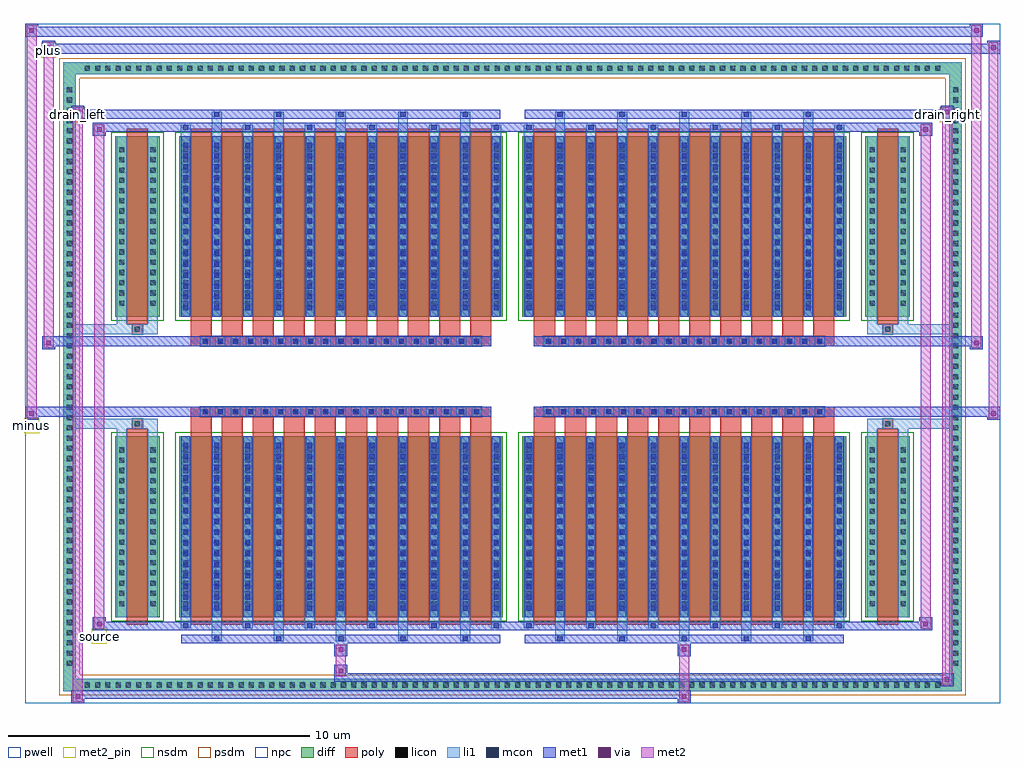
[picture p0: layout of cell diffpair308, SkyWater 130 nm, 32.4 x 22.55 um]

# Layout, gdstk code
import gdstk
lib = gdstk.Library(unit=1e-6, precision=5e-09)
def R(c, l, rs):  # rectangles x0, y0, x1, y1
    for r in rs: c.add(gdstk.rectangle(r[:2], r[2:], *l))
def A(c, l, x, y, w, h, nx, ny, dx, dy):  # array of equal rectangles
    R(c, l, [(x+i*dx, y+j*dy, x+i*dx+w, y+j*dy+h) for i in range(nx) for j in range(ny)])
def P(c, l, *ps):  # polygons
    for p in ps: c.add(gdstk.Polygon(p, *l))
pwell = (64, 44)
diff = (65, 20)
poly = (66, 20)
licon = (66, 44)
li1 = (67, 20)
mcon = (67, 44)
met1 = (68, 20)
via = (68, 44)
met2_pin = (69, 16)
met2 = (69, 20)
nsdm = (93, 44)
psdm = (94, 20)
npc = (95, 20)

diffpair308 = lib.new_cell('diffpair308')
R(diffpair308, pwell, [(-16.18,-10.84,16.18,11.71), (-13.5,-9.03,-0.01,-0.805), (0.01,-9.03,13.5,-0.805), (-13.5,0.805,-0.01,9.03), (0.01,0.805,13.5,9.03)])
A(diffpair308, diff, -14.315, -10.44, 0.41, 0.41, 84, 2, 0.34, 20.47)
A(diffpair308, diff, -14.91, -9.725, 0.41, 0.41, 1, 57, 0, 0.34)
A(diffpair308, diff, 14.5, -9.725, 0.41, 0.41, 1, 57, 0, 0.34)
R(diffpair308, diff, [(-14.315,-10.44,14.315,-10.03), (-14.91,-9.725,-14.5,9.725), (14.5,-9.725,14.91,9.725), (-13.19,-7.985,-11.71,-1.985), (-11.07,-7.985,-0.32,-1.985), (0.32,-7.985,11.07,-1.985), (11.71,-7.985,13.19,-1.985), (-13.19,1.985,-11.71,7.985), (-11.07,1.985,-0.32,7.985), (0.32,1.985,11.07,7.985), (11.71,1.985,13.19,7.985), (-14.315,10.03,14.315,10.44)])
P(diffpair308, diff, [(14.91,10.44),(-14.91,10.44),(-14.91,-10.03),(-14.5,-10.03),(-14.5,10.03),(14.5,10.03),(14.5,-10.03),(-14.5,-10.03),(-14.91,-10.03),(-14.91,-10.44),(14.91,-10.44)])
A(diffpair308, poly, -10.68, -8.235, 0.7, 6.5, 10, 2, 1.03, 9.97)
A(diffpair308, poly, 0.71, -8.235, 0.7, 6.5, 10, 2, 1.03, 9.97)
A(diffpair308, poly, -10.68, -1.735, 0.7, 0.4, 10, 2, 1.03, 3.07)
A(diffpair308, poly, 0.71, -1.735, 0.7, 0.4, 10, 2, 1.03, 3.07)
A(diffpair308, poly, -10.36, -1.335, 0.33, 0.33, 19, 2, 0.5, 2.34)
A(diffpair308, poly, 1.03, -1.335, 0.33, 0.33, 19, 2, 0.5, 2.34)
R(diffpair308, poly, [(-12.8,-8.235,-12.1,-1.735), (12.1,-8.235,12.8,-1.735), (-12.615,-1.735,-12.285,-1.405), (-12.615,-1.735,-12.285,-1.405), (12.285,-1.735,12.615,-1.405), (12.285,-1.735,12.615,-1.405), (-10.68,-1.335,-0.71,-1.005), (0.71,-1.335,10.68,-1.005), (-10.68,1.005,-0.71,1.335), (0.71,1.005,10.68,1.335), (-12.615,1.405,-12.285,1.735), (-12.615,1.405,-12.285,1.735), (12.285,1.405,12.615,1.735), (12.285,1.405,12.615,1.735), (-12.8,1.735,-12.1,8.235), (12.1,1.735,12.8,8.235)])
A(diffpair308, licon, -14.195, -10.32, 0.17, 0.17, 84, 2, 0.34, 20.47)
A(diffpair308, licon, -14.79, -9.605, 0.17, 0.17, 1, 57, 0, 0.34)
A(diffpair308, licon, 14.62, -9.605, 0.17, 0.17, 1, 57, 0, 0.34)
A(diffpair308, licon, -13.05, -7.62, 0.17, 0.17, 1, 16, 0, 0.34)
A(diffpair308, licon, -12.02, -7.62, 0.17, 0.17, 1, 16, 0, 0.34)
A(diffpair308, licon, -10.93, -7.62, 0.17, 0.17, 11, 16, 1.03, 0.34)
A(diffpair308, licon, 0.46, -7.62, 0.17, 0.17, 11, 16, 1.03, 0.34)
A(diffpair308, licon, 11.85, -7.62, 0.17, 0.17, 1, 16, 0, 0.34)
A(diffpair308, licon, 12.88, -7.62, 0.17, 0.17, 1, 16, 0, 0.34)
A(diffpair308, licon, -10.28, -1.255, 0.17, 0.17, 19, 2, 0.5, 2.34)
A(diffpair308, licon, 1.11, -1.255, 0.17, 0.17, 19, 2, 0.5, 2.34)
A(diffpair308, licon, -13.05, 2.35, 0.17, 0.17, 1, 16, 0, 0.34)
A(diffpair308, licon, -12.02, 2.35, 0.17, 0.17, 1, 16, 0, 0.34)
A(diffpair308, licon, -10.93, 2.35, 0.17, 0.17, 11, 16, 1.03, 0.34)
A(diffpair308, licon, 0.46, 2.35, 0.17, 0.17, 11, 16, 1.03, 0.34)
A(diffpair308, licon, 11.85, 2.35, 0.17, 0.17, 1, 16, 0, 0.34)
A(diffpair308, licon, 12.88, 2.35, 0.17, 0.17, 1, 16, 0, 0.34)
R(diffpair308, licon, [(-12.535,-1.655,-12.365,-1.485), (12.365,-1.655,12.535,-1.485), (-12.535,1.485,-12.365,1.655), (12.365,1.485,12.535,1.655)])
A(diffpair308, li1, -14.275, -10.4, 0.33, 0.33, 84, 2, 0.34, 20.47)
A(diffpair308, li1, -14.87, -9.685, 0.33, 0.33, 1, 57, 0, 0.34)
A(diffpair308, li1, 14.54, -9.685, 0.33, 0.33, 1, 57, 0, 0.34)
A(diffpair308, li1, -9.98, -8.79, 0.33, 0.805, 5, 2, 2.06, 16.775)
A(diffpair308, li1, -9.9, -8.79, 0.17, 0.17, 5, 2, 2.06, 17.41)
A(diffpair308, li1, 1.41, -8.79, 0.33, 0.805, 5, 2, 2.06, 16.775)
A(diffpair308, li1, 1.49, -8.79, 0.17, 0.17, 5, 2, 2.06, 17.41)
A(diffpair308, li1, -11.01, -8.36, 0.33, 0.375, 6, 2, 2.06, 16.345)
A(diffpair308, li1, -10.93, -8.36, 0.17, 0.17, 6, 2, 2.06, 16.55)
A(diffpair308, li1, 0.38, -8.36, 0.33, 0.375, 6, 2, 2.06, 16.345)
A(diffpair308, li1, 0.46, -8.36, 0.17, 0.17, 6, 2, 2.06, 16.55)
A(diffpair308, li1, -11.01, -7.985, 0.33, 6, 11, 2, 1.03, 9.97)
A(diffpair308, li1, 0.38, -7.985, 0.33, 6, 11, 2, 1.03, 9.97)
A(diffpair308, li1, -10.93, -7.77, 0.17, 0.17, 11, 16, 1.03, 0.36)
A(diffpair308, li1, -10.93, -7.77, 0.17, 5.57, 11, 2, 1.03, 9.97)
A(diffpair308, li1, 0.46, -7.77, 0.17, 0.17, 11, 16, 1.03, 0.36)
A(diffpair308, li1, 0.46, -7.77, 0.17, 5.57, 11, 2, 1.03, 9.97)
A(diffpair308, li1, -13.13, -7.7, 0.33, 0.33, 1, 16, 0, 0.34)
A(diffpair308, li1, -12.1, -7.7, 0.33, 0.33, 1, 16, 0, 0.34)
A(diffpair308, li1, -11.01, -7.7, 0.33, 0.33, 11, 16, 1.03, 0.34)
A(diffpair308, li1, 0.38, -7.7, 0.33, 0.33, 11, 16, 1.03, 0.34)
A(diffpair308, li1, 11.77, -7.7, 0.33, 0.33, 1, 16, 0, 0.34)
A(diffpair308, li1, 12.8, -7.7, 0.33, 0.33, 1, 16, 0, 0.34)
A(diffpair308, li1, -10.36, -1.335, 0.33, 0.33, 19, 2, 0.5, 2.34)
A(diffpair308, li1, 1.03, -1.335, 0.33, 0.33, 19, 2, 0.5, 2.34)
A(diffpair308, li1, -10.93, 2.2, 0.17, 0.17, 11, 16, 1.03, 0.36)
A(diffpair308, li1, 0.46, 2.2, 0.17, 0.17, 11, 16, 1.03, 0.36)
A(diffpair308, li1, -13.13, 2.27, 0.33, 0.33, 1, 16, 0, 0.34)
A(diffpair308, li1, -12.1, 2.27, 0.33, 0.33, 1, 16, 0, 0.34)
A(diffpair308, li1, -11.01, 2.27, 0.33, 0.33, 11, 16, 1.03, 0.34)
A(diffpair308, li1, 0.38, 2.27, 0.33, 0.33, 11, 16, 1.03, 0.34)
A(diffpair308, li1, 11.77, 2.27, 0.33, 0.33, 1, 16, 0, 0.34)
A(diffpair308, li1, 12.8, 2.27, 0.33, 0.33, 1, 16, 0, 0.34)
R(diffpair308, li1, [(-14.91,-10.44,-14.5,-10.03), (-14.91,-10.44,-14.5,-10.03), (-14.5,-10.44,14.5,-10.03), (14.5,-10.44,14.91,-10.03), (14.5,-10.44,14.91,-10.03), (-14.91,-10.03,-14.5,10.03), (14.5,-10.03,14.91,10.03), (-13.13,-7.985,-12.8,-1.985), (-12.1,-7.985,-11.77,-1.985), (11.77,-7.985,12.1,-1.985), (12.8,-7.985,13.13,-1.985), (-13.13,-1.985,-12.8,-1.405), (-12.1,-1.985,-11.77,-1.405), (11.77,-1.985,12.1,-1.405), (12.8,-1.985,13.13,-1.405), (-14.91,-1.735,-12.615,-1.405), (-13.13,-1.735,-12.615,-1.405), (-12.615,-1.735,-12.285,-1.405), (-12.285,-1.735,-11.77,-1.405), (11.77,-1.735,12.285,-1.405), (12.285,-1.735,12.615,-1.405), (12.285,-1.735,14.91,-1.405), (12.615,-1.735,13.13,-1.405), (-14.91,1.405,-12.615,1.735), (-13.13,1.405,-12.615,1.735), (-13.13,1.405,-12.8,1.985), (-12.615,1.405,-12.285,1.735), (-12.285,1.405,-11.77,1.735), (-12.1,1.405,-11.77,1.985), (11.77,1.405,12.285,1.735), (11.77,1.405,12.1,1.985), (12.285,1.405,12.615,1.735), (12.285,1.405,14.91,1.735), (12.615,1.405,13.13,1.735), (12.8,1.405,13.13,1.985), (-13.13,1.985,-12.8,7.985), (-12.1,1.985,-11.77,7.985), (11.77,1.985,12.1,7.985), (12.8,1.985,13.13,7.985), (-14.91,10.03,-14.5,10.44), (-14.91,10.03,-14.5,10.44), (-14.5,10.03,14.5,10.44), (14.5,10.03,14.91,10.44), (14.5,10.03,14.91,10.44)])
A(diffpair308, mcon, -9.9, -8.79, 0.17, 0.17, 5, 2, 2.06, 17.41)
A(diffpair308, mcon, 1.49, -8.79, 0.17, 0.17, 5, 2, 2.06, 17.41)
A(diffpair308, mcon, -10.93, -8.36, 0.17, 0.17, 6, 2, 2.06, 16.55)
A(diffpair308, mcon, 0.46, -8.36, 0.17, 0.17, 6, 2, 2.06, 16.55)
A(diffpair308, mcon, -10.93, -7.77, 0.17, 0.17, 11, 16, 1.03, 0.36)
A(diffpair308, mcon, 0.46, -7.77, 0.17, 0.17, 11, 16, 1.03, 0.36)
A(diffpair308, mcon, -10.28, -1.255, 0.17, 0.17, 19, 2, 0.5, 2.34)
A(diffpair308, mcon, 1.11, -1.255, 0.17, 0.17, 19, 2, 0.5, 2.34)
A(diffpair308, mcon, -10.93, 2.2, 0.17, 0.17, 11, 16, 1.03, 0.36)
A(diffpair308, mcon, 0.46, 2.2, 0.17, 0.17, 11, 16, 1.03, 0.36)
A(diffpair308, met1, -9.96, -8.85, 0.29, 0.29, 5, 2, 2.06, 17.41)
A(diffpair308, met1, 1.43, -8.85, 0.29, 0.29, 5, 2, 2.06, 17.41)
A(diffpair308, met1, -10.99, -8.42, 0.29, 0.29, 6, 2, 2.06, 16.55)
A(diffpair308, met1, 0.4, -8.42, 0.29, 0.29, 6, 2, 2.06, 16.55)
A(diffpair308, met1, -10.99, -7.985, 0.29, 6, 11, 2, 1.03, 9.97)
A(diffpair308, met1, 0.4, -7.985, 0.29, 6, 11, 2, 1.03, 9.97)
A(diffpair308, met1, -10.99, -7.83, 0.29, 0.29, 11, 16, 1.03, 0.36)
A(diffpair308, met1, 0.4, -7.83, 0.29, 0.29, 11, 16, 1.03, 0.36)
A(diffpair308, met1, -10.34, -1.315, 0.29, 0.29, 19, 2, 0.5, 2.34)
A(diffpair308, met1, 1.05, -1.315, 0.29, 0.29, 19, 2, 0.5, 2.34)
A(diffpair308, met1, -10.99, 2.14, 0.29, 0.29, 11, 16, 1.03, 0.36)
A(diffpair308, met1, 0.4, 2.14, 0.29, 0.29, 11, 16, 1.03, 0.36)
R(diffpair308, met1, [(-14.64,-10.84,-14.21,-10.41), (5.48,-10.84,5.91,-10.41), (-14.64,-10.7,5.91,-10.41), (14.21,-10.27,14.64,-9.84), (-5.91,-10.13,14.64,-9.84), (-5.91,-9.99,-5.48,-9.56), (-5.91,-9.28,-5.48,-8.85), (5.48,-9.28,5.91,-8.85), (-10.99,-8.85,-0.4,-8.56), (0.4,-8.85,10.99,-8.56), (-13.93,-8.42,-13.5,-7.99), (-13.93,-8.42,-10.99,-8.13), (-10.99,-8.42,-0.4,-8.13), (-0.4,-8.42,0.4,-8.13), (0.4,-8.42,10.99,-8.13), (10.99,-8.42,13.93,-8.13), (13.5,-8.42,13.93,-7.99), (-16.18,-1.435,-15.75,-1.005), (15.75,-1.435,16.18,-1.005), (-16.18,-1.335,-0.71,-1.005), (-10.68,-1.335,-0.71,-1.005), (0.71,-1.335,10.68,-1.005), (0.71,-1.335,16.18,-1.005), (-15.61,0.905,-15.18,1.335), (15.18,0.905,15.61,1.335), (-15.61,1.005,-10.68,1.335), (-10.68,1.005,-0.71,1.335), (0.71,1.005,10.68,1.335), (10.68,1.005,15.61,1.335), (-13.93,7.99,-13.5,8.42), (13.5,7.99,13.93,8.42), (-13.93,8.13,-10.99,8.42), (-10.99,8.13,-0.4,8.42), (-0.4,8.13,0.4,8.42), (0.4,8.13,10.99,8.42), (10.99,8.13,13.93,8.42), (-14.64,8.56,-14.21,8.99), (-14.64,8.56,-10.99,8.85), (-10.99,8.56,-0.4,8.85), (0.4,8.56,10.99,8.85), (10.99,8.56,14.64,8.85), (14.21,8.56,14.64,8.99), (-15.61,10.71,-15.18,11.14), (-15.61,10.71,-13.5,11.04), (-13.5,10.71,13.5,11.04), (13.5,10.71,16.18,11.04), (15.75,10.71,16.18,11.14), (-16.18,11.28,-15.75,11.71), (-16.18,11.28,-13.5,11.61), (-13.5,11.28,13.5,11.61), (13.5,11.28,15.61,11.61), (15.18,11.28,15.61,11.71)])
R(diffpair308, via, [(-14.5,-10.7,-14.35,-10.55), (5.62,-10.7,5.77,-10.55), (14.35,-10.13,14.5,-9.98), (-5.77,-9.85,-5.62,-9.7), (-5.77,-9.14,-5.62,-8.99), (5.62,-9.14,5.77,-8.99), (-13.79,-8.28,-13.64,-8.13), (13.64,-8.28,13.79,-8.13), (-16.04,-1.295,-15.89,-1.145), (15.89,-1.295,16.04,-1.145), (-15.47,1.045,-15.32,1.195), (15.32,1.045,15.47,1.195), (-13.79,8.13,-13.64,8.28), (13.64,8.13,13.79,8.28), (-14.5,8.7,-14.35,8.85), (14.35,8.7,14.5,8.85), (-15.47,10.85,-15.32,11), (15.89,10.85,16.04,11), (-16.04,11.42,-15.89,11.57), (15.32,11.42,15.47,11.57)])
R(diffpair308, met2_pin, [(-13.965,-8.87,-13.465,-8.37), (-16.215,-1.885,-15.715,-1.385), (-14.675,8.44,-14.175,8.94), (14.175,8.44,14.675,8.94), (-15.645,10.59,-15.145,11.09)])
R(diffpair308, met2, [(-14.59,-10.79,-14.26,-10.46), (-14.59,-10.79,-14.26,8.94), (5.53,-10.79,5.86,-10.46), (5.53,-10.46,5.86,-9.23), (14.26,-10.22,14.59,-9.89), (14.26,-10.22,14.59,8.94), (-5.86,-9.94,-5.53,-9.61), (-5.86,-9.61,-5.53,-9.23), (-5.86,-9.23,-5.53,-8.9), (5.53,-9.23,5.86,-8.9), (-13.88,-8.37,-13.55,-8.04), (-13.88,-8.37,-13.55,8.37), (13.55,-8.37,13.88,-8.04), (13.55,-8.37,13.88,8.37), (-16.13,-1.385,-15.8,-1.055), (-16.13,-1.385,-15.8,11.66), (15.8,-1.385,16.13,-1.055), (15.8,-1.385,16.13,11.09), (-15.56,0.955,-15.23,1.285), (-15.56,0.955,-15.23,11.09), (15.23,0.955,15.56,1.285), (15.23,0.955,15.56,11.66), (-13.88,8.04,-13.55,8.37), (13.55,8.04,13.88,8.37), (-14.59,8.61,-14.26,8.94), (14.26,8.61,14.59,8.94), (-15.56,10.76,-15.23,11.09), (15.8,10.76,16.13,11.09), (-16.13,11.33,-15.8,11.66), (15.23,11.33,15.56,11.66)])
P(diffpair308, met2, [(16.13,-1.385),(16.13,-1.385),(16.13,-1.055),(16.13,-1.055)],
  [(16.13,10.76),(16.13,10.76),(16.13,11.09),(16.13,11.09)],
  [(-15.8,-1.385),(-15.8,-1.385),(-15.8,-1.055),(-15.8,-1.055)],
  [(-15.8,11.33),(-15.8,11.33),(-15.8,11.66),(-15.8,11.66)],
  [(15.56,0.955),(15.56,0.955),(15.56,1.285),(15.56,1.285)],
  [(15.56,11.33),(15.56,11.33),(15.56,11.66),(15.56,11.66)],
  [(-15.23,0.955),(-15.23,0.955),(-15.23,1.285),(-15.23,1.285)],
  [(-15.23,10.76),(-15.23,10.76),(-15.23,11.09),(-15.23,11.09)],
  [(-14.26,-10.79),(-14.26,-10.79),(-14.26,-10.46),(-14.26,-10.46)],
  [(-14.26,8.61),(-14.26,8.61),(-14.26,8.94),(-14.26,8.94)],
  [(14.59,-10.22),(14.59,-10.22),(14.59,-9.89),(14.59,-9.89)],
  [(14.59,8.61),(14.59,8.61),(14.59,8.94),(14.59,8.94)],
  [(-13.55,-8.37),(-13.55,-8.37),(-13.55,-8.04),(-13.55,-8.04)],
  [(-13.55,8.04),(-13.55,8.04),(-13.55,8.37),(-13.55,8.37)],
  [(13.88,-8.37),(13.88,-8.37),(13.88,-8.04),(13.88,-8.04)],
  [(13.88,8.04),(13.88,8.04),(13.88,8.37),(13.88,8.37)])
R(diffpair308, nsdm, [(-13.32,-8.115,-11.58,-1.855), (-11.2,-8.115,-0.19,-1.855), (0.19,-8.115,11.2,-1.855), (11.58,-8.115,13.32,-1.855), (-13.32,1.855,-11.58,8.115), (-11.2,1.855,-0.19,8.115), (0.19,1.855,11.2,8.115), (11.58,1.855,13.32,8.115)])
P(diffpair308, psdm, [(15.04,10.57),(-15.04,10.57),(-15.04,-9.9),(-14.37,-9.9),(-14.37,9.9),(14.37,9.9),(14.37,-9.9),(-14.37,-9.9),(-15.04,-9.9),(-15.04,-10.57),(15.04,-10.57)])
A(diffpair308, npc, -10.38, -1.355, 0.37, 0.37, 19, 2, 0.5, 2.34)
A(diffpair308, npc, 1.01, -1.355, 0.37, 0.37, 19, 2, 0.5, 2.34)
R(diffpair308, npc, [(-12.635,-1.755,-12.265,-1.385), (12.265,-1.755,12.635,-1.385), (-10.38,-1.355,-9.51,-0.985), (-10.38,-1.355,-9.51,-0.985), (-9.88,-1.355,-9.01,-0.985), (-9.88,-1.355,-9.01,-0.985), (-9.38,-1.355,-8.51,-0.985), (-9.38,-1.355,-8.51,-0.985), (-8.88,-1.355,-8.01,-0.985), (-8.88,-1.355,-8.01,-0.985), (-8.38,-1.355,-7.51,-0.985), (-8.38,-1.355,-7.51,-0.985), (-7.88,-1.355,-7.01,-0.985), (-7.88,-1.355,-7.01,-0.985), (-7.38,-1.355,-6.51,-0.985), (-7.38,-1.355,-6.51,-0.985), (-6.88,-1.355,-6.01,-0.985), (-6.88,-1.355,-6.01,-0.985), (-6.38,-1.355,-5.51,-0.985), (-6.38,-1.355,-5.51,-0.985), (-5.88,-1.355,-5.01,-0.985), (-5.88,-1.355,-5.01,-0.985), (-5.38,-1.355,-4.51,-0.985), (-5.38,-1.355,-4.51,-0.985), (-4.88,-1.355,-4.01,-0.985), (-4.88,-1.355,-4.01,-0.985), (-4.38,-1.355,-3.51,-0.985), (-4.38,-1.355,-3.51,-0.985), (-3.88,-1.355,-3.01,-0.985), (-3.88,-1.355,-3.01,-0.985), (-3.38,-1.355,-2.51,-0.985), (-3.38,-1.355,-2.51,-0.985), (-2.88,-1.355,-2.01,-0.985), (-2.88,-1.355,-2.01,-0.985), (-2.38,-1.355,-1.51,-0.985), (-2.38,-1.355,-1.51,-0.985), (-1.88,-1.355,-1.01,-0.985), (-1.88,-1.355,-1.01,-0.985), (1.01,-1.355,1.88,-0.985), (1.01,-1.355,1.88,-0.985), (1.51,-1.355,2.38,-0.985), (1.51,-1.355,2.38,-0.985), (2.01,-1.355,2.88,-0.985), (2.01,-1.355,2.88,-0.985), (2.51,-1.355,3.38,-0.985), (2.51,-1.355,3.38,-0.985), (3.01,-1.355,3.88,-0.985), (3.01,-1.355,3.88,-0.985), (3.51,-1.355,4.38,-0.985), (3.51,-1.355,4.38,-0.985), (4.01,-1.355,4.88,-0.985), (4.01,-1.355,4.88,-0.985), (4.51,-1.355,5.38,-0.985), (4.51,-1.355,5.38,-0.985), (5.01,-1.355,5.88,-0.985), (5.01,-1.355,5.88,-0.985), (5.51,-1.355,6.38,-0.985), (5.51,-1.355,6.38,-0.985), (6.01,-1.355,6.88,-0.985), (6.01,-1.355,6.88,-0.985), (6.51,-1.355,7.38,-0.985), (6.51,-1.355,7.38,-0.985), (7.01,-1.355,7.88,-0.985), (7.01,-1.355,7.88,-0.985), (7.51,-1.355,8.38,-0.985), (7.51,-1.355,8.38,-0.985), (8.01,-1.355,8.88,-0.985), (8.01,-1.355,8.88,-0.985), (8.51,-1.355,9.38,-0.985), (8.51,-1.355,9.38,-0.985), (9.01,-1.355,9.88,-0.985), (9.01,-1.355,9.88,-0.985), (9.51,-1.355,10.38,-0.985), (9.51,-1.355,10.38,-0.985), (-10.38,0.985,-9.51,1.355), (-10.38,0.985,-9.51,1.355), (-9.88,0.985,-9.01,1.355), (-9.88,0.985,-9.01,1.355), (-9.38,0.985,-8.51,1.355), (-9.38,0.985,-8.51,1.355), (-8.88,0.985,-8.01,1.355), (-8.88,0.985,-8.01,1.355), (-8.38,0.985,-7.51,1.355), (-8.38,0.985,-7.51,1.355), (-7.88,0.985,-7.01,1.355), (-7.88,0.985,-7.01,1.355), (-7.38,0.985,-6.51,1.355), (-7.38,0.985,-6.51,1.355), (-6.88,0.985,-6.01,1.355), (-6.88,0.985,-6.01,1.355), (-6.38,0.985,-5.51,1.355), (-6.38,0.985,-5.51,1.355), (-5.88,0.985,-5.01,1.355), (-5.88,0.985,-5.01,1.355), (-5.38,0.985,-4.51,1.355), (-5.38,0.985,-4.51,1.355), (-4.88,0.985,-4.01,1.355), (-4.88,0.985,-4.01,1.355), (-4.38,0.985,-3.51,1.355), (-4.38,0.985,-3.51,1.355), (-3.88,0.985,-3.01,1.355), (-3.88,0.985,-3.01,1.355), (-3.38,0.985,-2.51,1.355), (-3.38,0.985,-2.51,1.355), (-2.88,0.985,-2.01,1.355), (-2.88,0.985,-2.01,1.355), (-2.38,0.985,-1.51,1.355), (-2.38,0.985,-1.51,1.355), (-1.88,0.985,-1.01,1.355), (-1.88,0.985,-1.01,1.355), (1.01,0.985,1.88,1.355), (1.01,0.985,1.88,1.355), (1.51,0.985,2.38,1.355), (1.51,0.985,2.38,1.355), (2.01,0.985,2.88,1.355), (2.01,0.985,2.88,1.355), (2.51,0.985,3.38,1.355), (2.51,0.985,3.38,1.355), (3.01,0.985,3.88,1.355), (3.01,0.985,3.88,1.355), (3.51,0.985,4.38,1.355), (3.51,0.985,4.38,1.355), (4.01,0.985,4.88,1.355), (4.01,0.985,4.88,1.355), (4.51,0.985,5.38,1.355), (4.51,0.985,5.38,1.355), (5.01,0.985,5.88,1.355), (5.01,0.985,5.88,1.355), (5.51,0.985,6.38,1.355), (5.51,0.985,6.38,1.355), (6.01,0.985,6.88,1.355), (6.01,0.985,6.88,1.355), (6.51,0.985,7.38,1.355), (6.51,0.985,7.38,1.355), (7.01,0.985,7.88,1.355), (7.01,0.985,7.88,1.355), (7.51,0.985,8.38,1.355), (7.51,0.985,8.38,1.355), (8.01,0.985,8.88,1.355), (8.01,0.985,8.88,1.355), (8.51,0.985,9.38,1.355), (8.51,0.985,9.38,1.355), (9.01,0.985,9.88,1.355), (9.01,0.985,9.88,1.355), (9.51,0.985,10.38,1.355), (9.51,0.985,10.38,1.355), (-12.635,1.385,-12.265,1.755), (12.265,1.385,12.635,1.755)])
diffpair308.add(gdstk.Label('minus', (-15.965,-1.635), layer=69, texttype=5))
diffpair308.add(gdstk.Label('drain_right', (14.425,8.69), layer=69, texttype=5))
diffpair308.add(gdstk.Label('drain_left', (-14.425,8.69), layer=69, texttype=5))
diffpair308.add(gdstk.Label('source', (-13.715,-8.62), layer=69, texttype=5))
diffpair308.add(gdstk.Label('plus', (-15.395,10.84), layer=69, texttype=5))

lib.write_gds('diffpair308.gds')
